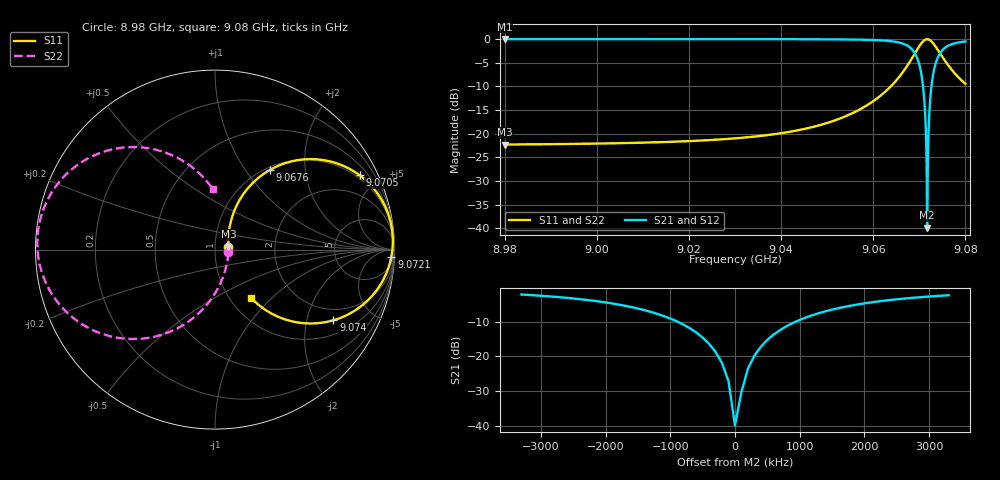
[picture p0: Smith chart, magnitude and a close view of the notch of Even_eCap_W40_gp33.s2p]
! Sonnet Data File
! From: emgraph Version : 16.52
! From Project: Resonator2_extremeCap
! Data is De-embedded
! Data File Written: 10/10/2017 20:29:22
!< HDATE 10/09/2017 23:04:37
!< MDATE 10/09/2017 23:04:37
!< PARAMS
!< Pwid1 = 2000.0
!< Pwid2 = 2000.0
!< Air_gap = 24.0
!< Width = 40.0
!< Gap = 33.0
!< END PARAMS
# GHZ S MA R 51.80000
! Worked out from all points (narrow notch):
!   1001 points, 8.98 GHz to 9.08 GHz, reference 51.8 ohm
!   highest |S21| = -0.03 dB at 8.98 GHz (marker M1); lowest = -39.9 dB at 9.0717 GHz (marker M2)
!   notch at M2: 39.8 dB deep, 557 kHz wide at half that depth
!   lowest |S11| = -22.3 dB at 8.98 GHz (marker M3), VSWR 1.17, Z = 60.1 + j2.06 ohm
!   |S11| at or under -10 dB: start of sweep to 9.0638 GHz
!   |S22| runs from -22.3 to -0.1 dB; largest |S21 - S12| = 0
!   S11 on the Smith chart (normalised r, x): 8.98 GHz: 1.16, +0.04; 9.0676 GHz: 1.04, +1.31; 9.0705 GHz: 0.86, +3.96; 9.0721 GHz: 17, -42; 9.074 GHz: 1.51, -2.91; 9.08 GHz: 1.25, -0.76
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8.98  0.0766 12.9  0.9971 -89.4  0.9971 -89.4  0.07659 -11.7
!< P1 F=8.98 Eeff=(6.44310582 -2.9702e-5) Z0=(50.4815179 1.16466e-4) R=0.0 C=0.0
!< P2 F=8.98 Eeff=(6.44310582 -2.9702e-5) Z0=(50.4815179 1.16466e-4) R=0.0 C=0.0
8.9967  0.07801 17.0  0.9969 -90.0  0.9969 -90.0  0.07798 -16.9
9.0134  0.08107 23.3  0.9967 -90.7  0.9967 -90.7  0.08104 -24.7
9.03  0.08905 33.2  0.996 -91.9  0.996 -91.9  0.089 -37.1
9.0467  0.1169 49.0  0.9931 -94.6  0.9931 -94.6  0.1168 -58.2
9.0563  0.1718 59.8  0.9849 -98.5  0.9849 -98.5  0.1716 -76.9
9.0634  0.3014 63.7  0.9528 -106.7  0.9528 -106.7  0.301 -97.4
9.0658  0.4068 61.2  0.9121 -113.3  0.9121 -113.3  0.4063 -108.3
9.0676  0.5406 55.4  0.8387 -122.2  0.8387 -122.2  0.5399 -120.3
9.0693  0.7389 43.0  0.6678 -137.2  0.6678 -137.2  0.738 -138.4
9.0705  0.9058 27.2  0.4095 -154.5  0.4095 -154.5  0.9047 -158.3
9.071  0.96 18.6  0.2551 -163.3  0.2551 -163.3  0.9589 -168.5
9.0714  0.9862 11.1  0.116 -169.4  0.116 -169.4  0.985 -177.4
9.0717  0.9929 5.3  0.01014 -130.5  0.01014 -130.5  0.9917 175.8
9.0721  0.9835 -2.3  0.138 -10.9  0.138 -10.9  0.9823 166.9
9.0724  0.9638 -7.9  0.2406 -15.5  0.2406 -15.5  0.9627 160.4
9.0727  0.9355 -13.1  0.3355 -20.7  0.3355 -20.7  0.9344 154.2
9.0732  0.8756 -20.9  0.4719 -28.9  0.4719 -28.9  0.8746 144.8
9.074  0.7686 -30.8  0.6333 -39.8  0.6333 -39.8  0.7677 132.3
9.0751  0.6357 -40.1  0.7684 -50.6  0.7684 -50.6  0.635 119.6
9.0764  0.5171 -46.6  0.8539 -59.0  0.8539 -59.0  0.5166 109.1
9.08  0.3359 -53.2  0.9412 -70.8  0.9412 -70.8  0.3356 92.0
